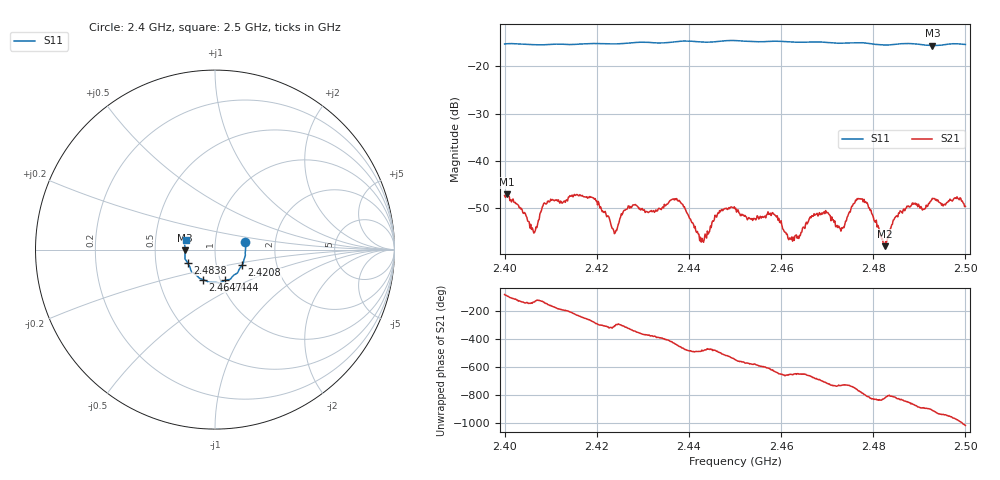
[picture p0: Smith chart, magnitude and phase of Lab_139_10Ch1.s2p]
# Hz S RI R 50
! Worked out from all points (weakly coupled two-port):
!   601 points, 2.4 GHz to 2.5 GHz, reference 50 ohm
!   highest |S21| = -47.08 dB at 2.4005 GHz (marker M1); lowest = -58.1 dB at 2.4825 GHz (marker M2)
!   lowest |S11| = -15.6 dB at 2.4928 GHz (marker M3), VSWR 1.40, Z = 35.8 - j0.361 ohm
!   |S11| at or under -10 dB: start of sweep to end of sweep
!   S12 and S22 are empty: the file has one direction only
!   S11 on the Smith chart (normalised r, x): 2.4 GHz: 1.40, +0.12; 2.4208 GHz: 1.33, -0.24; 2.444 GHz: 1.06, -0.37; 2.4647 GHz: 0.83, -0.29; 2.4838 GHz: 0.73, -0.11; 2.5 GHz: 0.72, +0.08
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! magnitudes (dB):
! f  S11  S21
! 2.4 GHz  -15.2  -47.4
! 2.4005 GHz  -15.2  -47.1
! 2.4063 GHz  -15.4  -55.3
! 2.409 GHz  -15.4  -49.2
! 2.4167 GHz  -15.2  -47.5
! 2.4208 GHz  -15.2  -49.8
! 2.4238 GHz  -15.2  -55.5
! 2.4273 GHz  -15.0  -49.7
! 2.4333 GHz  -15.0  -50.2
! 2.4375 GHz  -14.7  -48.4
! 2.444 GHz  -14.9  -54.9
! 2.45 GHz  -14.5  -50.2
! 2.462 GHz  -14.8  -56.4
! 2.4647 GHz  -14.9  -54.2
! 2.4667 GHz  -14.8  -51.6
! 2.4732 GHz  -15.1  -54.2
! 2.4772 GHz  -15.0  -48.0
! 2.4825 GHz  -15.5  -58.1
! 2.4833 GHz  -15.5  -56.3
! 2.4838 GHz  -15.4  -54.2
! 2.4928 GHz  -15.6  -48.0
! 2.5 GHz  -15.4  -49.7
